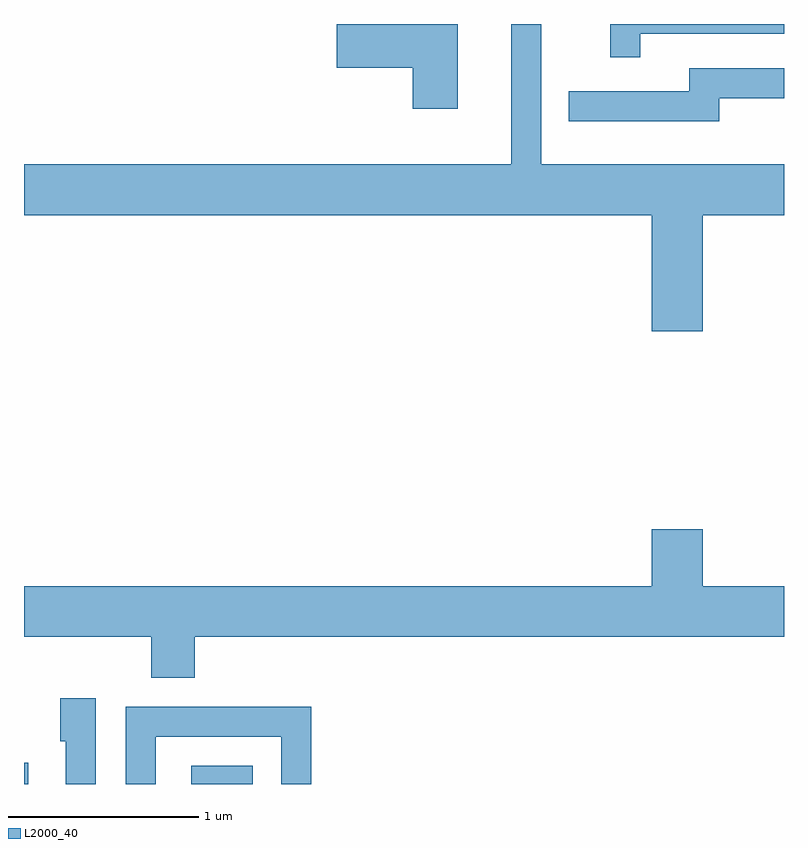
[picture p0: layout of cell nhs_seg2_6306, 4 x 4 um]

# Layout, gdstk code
import gdstk
lib = gdstk.Library(unit=1e-6, precision=1e-09)
def R(c, l, rs):  # rectangles x0, y0, x1, y1
    for r in rs: c.add(gdstk.rectangle(r[:2], r[2:], *l))
def P(c, l, *ps):  # polygons
    for p in ps: c.add(gdstk.Polygon(p, *l))
L2000_40 = (2000, 40)

nhs_seg2_6306 = lib.new_cell('nhs_seg2_6306')
R(nhs_seg2_6306, L2000_40, [(371.611,1009.802,371.634,1009.914), (372.491,1009.802,372.814,1009.899)])
P(nhs_seg2_6306, L2000_40, [(375.184,1012.796),(375.611,1012.796),(375.611,1013.064),(374.334,1013.064),(374.334,1013.802),(374.176,1013.802),(374.176,1013.064),(371.611,1013.064),(371.611,1012.796),(374.916,1012.796),(374.916,1012.186),(375.184,1012.186)],
  [(373.894,1013.802),(373.256,1013.802),(373.256,1013.571),(373.656,1013.571),(373.656,1013.356),(373.894,1013.356)],
  [(374.854,1013.751),(375.611,1013.751),(375.611,1013.802),(374.696,1013.802),(374.696,1013.628),(374.854,1013.628)],
  [(375.269,1013.411),(375.611,1013.411),(375.611,1013.569),(375.111,1013.569),(375.111,1013.449),(374.478,1013.449),(374.478,1013.291),(375.269,1013.291)],
  [(372.509,1010.576),(375.611,1010.576),(375.611,1010.844),(375.184,1010.844),(375.184,1011.144),(374.916,1011.144),(374.916,1010.844),(371.611,1010.844),(371.611,1010.576),(372.281,1010.576),(372.281,1010.361),(372.509,1010.361)],
  [(371.989,1010.254),(371.801,1010.254),(371.801,1010.026),(371.831,1010.026),(371.831,1009.802),(371.989,1009.802)],
  [(372.304,1010.051),(372.966,1010.051),(372.966,1009.802),(373.124,1009.802),(373.124,1010.209),(372.146,1010.209),(372.146,1009.802),(372.304,1009.802)])

lib.write_gds('nhs_seg2_6306.gds')
